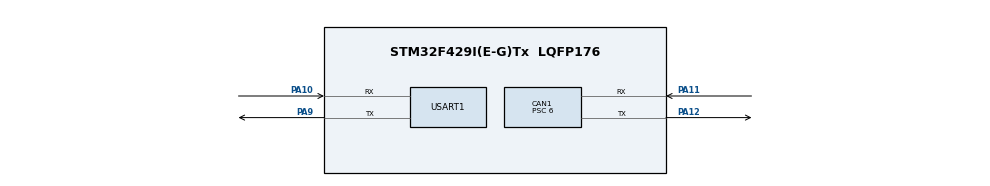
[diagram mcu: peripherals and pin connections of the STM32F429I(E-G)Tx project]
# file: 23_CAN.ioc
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CAN1.BS1=CAN_BS1_6TQ
CAN1.BS2=CAN_BS2_8TQ
CAN1.CalculateTimeQuantum=133.33333333333331
CAN1.Mode=CAN_MODE_LOOPBACK
CAN1.NART=ENABLE
CAN1.Prescaler=6
Mcu.Family=STM32F4
Mcu.Name=STM32F429I(E-G)Tx
Mcu.Package=LQFP176
NVIC.PriorityGroup=NVIC_PRIORITYGROUP_4
PA10.Mode=Asynchronous
PA10.Signal=USART1_RX
PA11.Mode=Master
PA11.Signal=CAN1_RX
PA12.Mode=Master
PA12.Signal=CAN1_TX
PA13.Mode=Trace_Asynchronous_SW
PA13.Signal=SYS_JTMS-SWDIO
PA14.Mode=Trace_Asynchronous_SW
PA14.Signal=SYS_JTCK-SWCLK
PA9.Mode=Asynchronous
PA9.Signal=USART1_TX
PB3.Mode=Trace_Asynchronous_SW
PB3.Signal=SYS_JTDO-SWO
PC14/OSC32_IN.Mode=LSE-External-Oscillator
PC14/OSC32_IN.Signal=RCC_OSC32_IN
PC15/OSC32_OUT.Mode=LSE-External-Oscillator
PC15/OSC32_OUT.Signal=RCC_OSC32_OUT
PH0/OSC_IN.Mode=HSE-External-Oscillator
PH0/OSC_IN.Signal=RCC_OSC_IN
PH1/OSC_OUT.Mode=HSE-External-Oscillator
PH1/OSC_OUT.Signal=RCC_OSC_OUT
ProjectManager.HeapSize=0x200
ProjectManager.StackSize=0x400
ProjectManager.TargetToolchain=STM32CubeIDE
RCC.48MHZClocksFreq_Value=90000000
RCC.AHBFreq_Value=180000000
RCC.APB1CLKDivider=RCC_HCLK_DIV4
RCC.APB1Freq_Value=45000000
RCC.APB1TimFreq_Value=90000000
RCC.APB2CLKDivider=RCC_HCLK_DIV2
RCC.APB2Freq_Value=90000000
RCC.APB2TimFreq_Value=180000000
RCC.CortexFreq_Value=180000000
RCC.HCLKFreq_Value=180000000
RCC.HSE_VALUE=25000000
RCC.HSI_VALUE=16000000
RCC.PLLM=15
RCC.PLLN=216
RCC.PLLSourceVirtual=RCC_PLLSOURCE_HSE
RCC.SYSCLKFreq_VALUE=180000000
RCC.SYSCLKSource=RCC_SYSCLKSOURCE_PLLCLK
RCC.VCOOutputFreq_Value=360000000
USART1.VirtualMode=VM_ASYNC
board=custom

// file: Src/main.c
/* USER CODE BEGIN Header */
/**
 ******************************************************************************
 * @file           : main.c
 * @brief          : Main program body
 ******************************************************************************
 * @attention
 *
 * <h2><center>&copy; Copyright (c) 2019 STMicroelectronics.
 * All rights reserved.</center></h2>
 *
 * This software component is licensed by ST under BSD 3-Clause license,
 * the "License"; You may not use this file except in compliance with the
 * License. You may obtain a copy of the License at:
 *                        opensource.org/licenses/BSD-3-Clause
 *
 ******************************************************************************
 */
/* USER CODE END Header */

#include "main.h"
#include "can.h"
#include "usart.h"
#include "gpio.h"

/* USER CODE BEGIN Includes */
#include <stdio.h>
/* USER CODE END Includes */

/* USER CODE BEGIN PTD */
#ifdef __GNUC__
#define PUTCHAR_PROTOTYPE int __io_putchar(int ch)
#else
#define PUTCHAR_PROTOTYPE int fputc(int ch, FILE *f)
#endif
PUTCHAR_PROTOTYPE
{
    while ((USART1->SR & 0X40) == 0);
    USART1->DR = (uint8_t) ch;
    return ch;
}
/* USER CODE END PTD */

/* USER CODE BEGIN PV */
extern CAN_HandleTypeDef hcan1;
CAN_FilterTypeDef sFilterConfig;
CAN_TxHeaderTypeDef TxHeader;
CAN_RxHeaderTypeDef RxHeader;
uint8_t TxData[8];
uint8_t RxData[8];
uint32_t TxMailbox;
int temp,x,y;
/* USER CODE END PV */

void SystemClock_Config (void);
/* USER CODE BEGIN PFP */
HAL_StatusTypeDef CAN_TX (CAN_HandleTypeDef*hcan,uint8_t*txBuf,uint8_t len,uint8_t StdID);
HAL_StatusTypeDef CAN_RX (CAN_HandleTypeDef*hcan,uint8_t*rxbuf,uint8_t*len);
/* USER CODE END PFP */

int main (void)
{
    /* USER CODE BEGIN 1 */
    uint8_t lens = 0;
    /* USER CODE END 1 */

    /* MCU Configuration--------------------------------------------------------*/

    /* Reset of all peripherals, Initializes the Flash interface and the Systick. */
    HAL_Init ();

    /* Configure the system clock */
    SystemClock_Config ();

    /* Initialize all configured peripherals */
    MX_GPIO_Init ();
    MX_USART1_UART_Init ();
    MX_CAN1_Init ();
    /* USER CODE BEGIN 2 */
    printf ("Start\r\n");

    sFilterConfig.FilterBank = 0;
    sFilterConfig.FilterMode = CAN_FILTERMODE_IDMASK;
    sFilterConfig.FilterScale = CAN_FILTERSCALE_32BIT;
    sFilterConfig.FilterIdHigh = 0x0000;
    sFilterConfig.FilterIdLow = 0x0000;
    sFilterConfig.FilterMaskIdHigh = 0x0000;
    sFilterConfig.FilterMaskIdLow = 0x0000;
    sFilterConfig.FilterFIFOAssignment = CAN_RX_FIFO0;
    sFilterConfig.FilterActivation = ENABLE;
    sFilterConfig.SlaveStartFilterBank = 14;

    if (HAL_CAN_ConfigFilter (&hcan1, &sFilterConfig) != HAL_OK)
    {
	/* Filter configuration Error */
	printf ("config error\r\n");
    }

    /*##-3- Start the CAN peripheral ###########################################*/
    if (HAL_CAN_Start (&hcan1) != HAL_OK)
    {
	/* Start Error */
	printf ("start error\r\n");
    }

    TxData[1] = 0x22;
    TxData[2] = 0x33;
    TxData[3] = 0x44;
    TxData[4] = 0x55;
    TxData[5] = 0x66;
    TxData[6] = 0x77;
    TxData[7] = 0x88;

    /* USER CODE END 2 */

    /* Infinite loop */
    /* USER CODE BEGIN WHILE */
    x = 0;
    y = 0;
    while (1)
    {
	if (x++ == 200)
	    x = 0;
	for (y = 0; y < 8; y++)
	{
	    TxData[y] = x+y;
	}

	CAN_TX (&hcan1, TxData, 8, 0x18);
	CAN_RX (&hcan1, RxData, &lens);
	printf ("send done\r\n");
	for (temp = 0; temp < 8; temp++)
	{
	    printf ("0X%x\t ", RxData[temp]);
	}
	printf ("\r\nreceive done\r\n");
	/* USER CODE END WHILE */

    }
}

void SystemClock_Config (void)
{
    RCC_OscInitTypeDef RCC_OscInitStruct = { 0 };
    RCC_ClkInitTypeDef RCC_ClkInitStruct = { 0 };

    /** Configure the main internal regulator output voltage
     */
    __HAL_RCC_PWR_CLK_ENABLE();
    __HAL_PWR_VOLTAGESCALING_CONFIG(PWR_REGULATOR_VOLTAGE_SCALE1);
    /** Initializes the CPU, AHB and APB busses clocks
     */
    RCC_OscInitStruct.OscillatorType = RCC_OSCILLATORTYPE_HSE;
    RCC_OscInitStruct.HSEState = RCC_HSE_ON;
    RCC_OscInitStruct.PLL.PLLState = RCC_PLL_ON;
    RCC_OscInitStruct.PLL.PLLSource = RCC_PLLSOURCE_HSE;
    RCC_OscInitStruct.PLL.PLLM = 15;
    RCC_OscInitStruct.PLL.PLLN = 216;
    RCC_OscInitStruct.PLL.PLLP = RCC_PLLP_DIV2;
    RCC_OscInitStruct.PLL.PLLQ = 4;
    if (HAL_RCC_OscConfig (&RCC_OscInitStruct) != HAL_OK)
    {
	Error_Handler ();
    }
    /** Activate the Over-Drive mode
     */
    if (HAL_PWREx_EnableOverDrive () != HAL_OK)
    {
	Error_Handler ();
    }
    /** Initializes the CPU, AHB and APB busses clocks
     */
    RCC_ClkInitStruct.ClockType = RCC_CLOCKTYPE_HCLK | RCC_CLOCKTYPE_SYSCLK | RCC_CLOCKTYPE_PCLK1 | RCC_CLOCKTYPE_PCLK2;
    RCC_ClkInitStruct.SYSCLKSource = RCC_SYSCLKSOURCE_PLLCLK;
    RCC_ClkInitStruct.AHBCLKDivider = RCC_SYSCLK_DIV1;
    RCC_ClkInitStruct.APB1CLKDivider = RCC_HCLK_DIV4;
    RCC_ClkInitStruct.APB2CLKDivider = RCC_HCLK_DIV2;

    if (HAL_RCC_ClockConfig (&RCC_ClkInitStruct, FLASH_LATENCY_5) != HAL_OK)
    {
	Error_Handler ();
    }
}

/* USER CODE BEGIN 4 */
HAL_StatusTypeDef CAN_TX (CAN_HandleTypeDef*hcan,uint8_t*txbuf,uint8_t len,uint8_t StdID)
{
    CAN_TxHeaderTypeDef txHeader;
    uint32_t txmailbox;

    txHeader.StdId = StdID;
    txHeader.RTR = CAN_RTR_DATA;
    txHeader.IDE = CAN_ID_STD;
    txHeader.DLC = len;
    TxHeader.TransmitGlobalTime = DISABLE;

    if (HAL_CAN_AddTxMessage (hcan, &txHeader, txbuf, &txmailbox) != HAL_OK)
    {
	printf ("add error\r\n");
	return HAL_ERROR;
    }

    while (HAL_CAN_GetTxMailboxesFreeLevel (&hcan1) != 3)
    {
    }
    return HAL_OK;
}

HAL_StatusTypeDef CAN_RX (CAN_HandleTypeDef*hcan,uint8_t*rxbuf,uint8_t*len)
{
    CAN_TxHeaderTypeDef rxHeader;

    if (HAL_CAN_GetRxFifoFillLevel (hcan, CAN_RX_FIFO0) != 1)
    {
	/* Reception Missing */
	printf ("rx error\r\n");
    }

    if (HAL_CAN_GetRxMessage (hcan, CAN_RX_FIFO0, &rxHeader, rxbuf) != HAL_OK)
    {
	/* Reception Error */
	printf ("get rx error\r\n");
    }
    *len = rxHeader.DLC;
    return HAL_OK;
}

/* USER CODE END 4 */

void Error_Handler (void)
{
}

/************************ (C) COPYRIGHT STMicroelectronics *****END OF FILE****/
